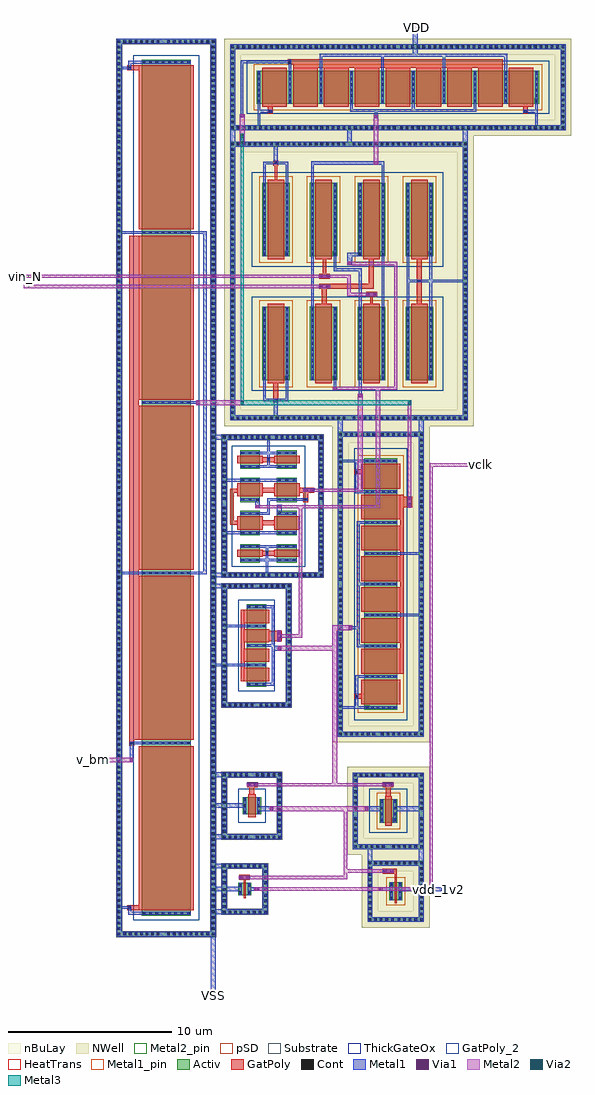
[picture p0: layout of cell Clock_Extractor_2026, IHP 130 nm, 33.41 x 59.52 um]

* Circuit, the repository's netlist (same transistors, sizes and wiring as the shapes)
* Extracted by KLayout with SG13G2 LVS runset on : 10/03/2026 01:40

.SUBCKT Clock_Extractor_2026
M$1 \$2 \$8 \$5 \$1 sg13_lv_nmos L=0.13u W=0.74u AS=0.2516p AD=0.2516p PS=2.16u
+ PD=2.16u
M$2 \$2 \$2 \$17 \$1 sg13_hv_nmos L=10u W=3u AS=1.02p AD=0.57p PS=6.68u PD=3.38u
M$3 \$17 \$17 \$2 \$1 sg13_hv_nmos L=10u W=3u AS=0.57p AD=0.57p PS=3.38u
+ PD=3.38u
M$4 \$2 \$17 \$36 \$1 sg13_hv_nmos L=10u W=6u AS=1.14p AD=1.14p PS=6.76u
+ PD=6.76u
M$6 \$2 \$2 \$2 \$1 sg13_hv_nmos L=10u W=3u AS=0.57p AD=1.02p PS=3.38u PD=6.68u
M$7 \$2 \$15 \$8 \$1 sg13_hv_nmos L=0.45u W=1.05u AS=0.357p AD=0.357p PS=2.78u
+ PD=2.78u
M$8 \$15 \$20 \$2 \$1 sg13_hv_nmos L=0.8u W=4.8u AS=1.092p AD=1.092p PS=7.82u
+ PD=7.82u
M$12 \$2 \$2 \$2 \$1 sg13_hv_nmos L=0.45u W=4.8u AS=1.632p AD=1.632p PS=12.32u
+ PD=12.32u
M$14 \$2 \$26 \$26 \$1 sg13_hv_nmos L=0.8u W=2.4u AS=0.816p AD=0.816p PS=6.16u
+ PD=6.16u
M$15 \$2 \$26 \$20 \$1 sg13_hv_nmos L=0.8u W=2.4u AS=0.816p AD=0.816p PS=6.16u
+ PD=6.16u
M$20 \$5 \$8 \$4 \$3 sg13_lv_pmos L=0.13u W=1.12u AS=0.3808p AD=0.3808p
+ PS=2.92u PD=2.92u
M$21 \$8 \$15 \$4 \$3 sg13_hv_pmos L=0.4u W=1.43u AS=0.4862p AD=0.4862p
+ PS=3.54u PD=3.54u
M$22 \$19 \$19 \$19 \$18 sg13_hv_pmos L=1.5u W=6u AS=1.44p AD=1.74p PS=9.44u
+ PD=11.74u
M$23 \$19 \$36 \$15 \$18 sg13_hv_pmos L=1.5u W=12u AS=2.28p AD=2.28p PS=14.28u
+ PD=14.28u
M$30 \$19 \$19 \$19 \$18 sg13_hv_pmos L=1u W=18u AS=6.12p AD=6.12p PS=38.72u
+ PD=38.72u
M$31 \$38 \$43 \$20 \$18 sg13_hv_pmos L=1u W=9u AS=3.06p AD=3.06p PS=19.36u
+ PD=19.36u
M$32 \$26 \$44 \$38 \$18 sg13_hv_pmos L=1u W=9u AS=3.06p AD=3.06p PS=19.36u
+ PD=19.36u
M$38 \$19 \$19 \$36 \$18 sg13_hv_pmos L=1.5u W=2u AS=0.68p AD=0.38p PS=4.68u
+ PD=2.38u
M$39 \$36 \$36 \$19 \$18 sg13_hv_pmos L=1.5u W=2u AS=0.38p AD=0.38p PS=2.38u
+ PD=2.38u
M$40 \$19 \$36 \$38 \$18 sg13_hv_pmos L=1.5u W=12u AS=2.28p AD=2.28p PS=14.28u
+ PD=14.28u
R$47 \$3 \$4 ntap1 A=8.976p P=59.84u
R$49 \$18 \$19 ntap1 A=47.532p P=316.88u
R$52 \$1 \$2 ptap1 A=58.89p P=392.6u
.ENDS Clock_Extractor_2026

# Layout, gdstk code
from math import pi, radians
import gdstk
lib = gdstk.Library(unit=1e-6, precision=5e-09)
def R(c, l, rs):  # rectangles x0, y0, x1, y1
    for r in rs: c.add(gdstk.rectangle(r[:2], r[2:], *l))
def A(c, l, x, y, w, h, nx, ny, dx, dy):  # array of equal rectangles
    R(c, l, [(x+i*dx, y+j*dy, x+i*dx+w, y+j*dy+h) for i in range(nx) for j in range(ny)])
def P(c, l, *ps):  # polygons
    for p in ps: c.add(gdstk.Polygon(p, *l))
Activ = (1, 0)
GatPoly = (5, 0)
GatPoly_2 = (5, 2)
Cont = (6, 0)
Metal1 = (8, 0)
Metal1_pin = (8, 2)
Metal2 = (10, 0)
Metal2_pin = (10, 2)
pSD = (14, 0)
Via1 = (19, 0)
Via2 = (29, 0)
Metal3 = (30, 0)
NWell = (31, 0)
nBuLay = (32, 0)
Substrate = (40, 0)
ThickGateOx = (44, 0)
HeatTrans = (51, 0)

via_stack_5 = lib.new_cell('via_stack$5')
R(via_stack_5, GatPoly, [(-0.15,-0.15,0.15,0.15)])
R(via_stack_5, Cont, [(-0.08,-0.08,0.08,0.08)])
R(via_stack_5, Metal1, [(-0.13,-0.08,0.13,0.08)])

nmoshv = lib.new_cell('nmosHV')
A(nmoshv, Activ, 0, 0, 0.3, 0.3, 6, 1, 10.38, 0)
R(nmoshv, Activ, [(-1.27,-1.22,-0.97,4.22), (53.17,-1.22,53.47,4.22), (0,0,52.2,3), (-1.27,4.22,53.47,4.52)])
P(nmoshv, Activ, [(-1.27,-1.52),(-1.27,4.22),(-0.97,4.22),(-0.97,-1.22),(53.17,-1.22),(53.17,4.22),(-1.27,4.22),(-1.27,4.52),(53.47,4.52),(53.47,-1.52)])
A(nmoshv, GatPoly, 0.34, -0.18, 10, 3.36, 5, 1, 10.38, 0)
R(nmoshv, GatPoly_2, [(0.34,-0.18,10.34,3.18)])
A(nmoshv, Cont, -1.2, -1.45, 0.16, 0.16, 80, 2, 0.34, 5.74)
A(nmoshv, Cont, 26.04, -1.45, 0.16, 0.16, 81, 2, 0.34, 5.74)
A(nmoshv, Cont, -1.2, -1.11, 0.16, 0.16, 1, 7, 0, 0.34)
A(nmoshv, Cont, 53.24, -1.11, 0.16, 0.16, 1, 7, 0, 0.34)
A(nmoshv, Cont, 0.07, 0.07, 0.16, 0.16, 6, 7, 10.38, 0.385)
A(nmoshv, Cont, -1.2, 1.57, 0.16, 0.16, 1, 8, 0, 0.34)
A(nmoshv, Cont, 53.24, 1.57, 0.16, 0.16, 1, 8, 0, 0.34)
A(nmoshv, Cont, 0.07, 2.77, 0.16, 0.16, 6, 1, 10.38, 0)
A(nmoshv, Metal1, 0.07, 0, 0.16, 3, 6, 1, 10.38, 0)
R(nmoshv, Metal1, [(-1.27,-1.52,53.47,-1.22), (-1.27,-1.22,-0.97,4.22), (53.17,-1.22,53.47,4.22), (-1.27,4.22,53.47,4.52)])
R(nmoshv, Metal1_pin, [(0.07,0,0.23,3), (10.45,0,10.61,3)])
R(nmoshv, pSD, [(-1.3,-1.19,-0.94,4.19), (53.14,-1.19,53.5,4.19), (-1.3,4.19,53.5,4.55)])
P(nmoshv, pSD, [(-1.3,-1.55),(-1.3,4.19),(-0.94,4.19),(-0.94,-1.19),(53.14,-1.19),(53.14,4.19),(-1.3,4.19),(-1.3,4.55),(53.5,4.55),(53.5,-1.55)])
R(nmoshv, Substrate, [(-1.3,-1.19,-0.94,4.19), (53.14,-1.19,53.5,4.19), (-1.3,4.19,53.5,4.55)])
P(nmoshv, Substrate, [(-1.3,-1.55),(-1.3,4.19),(-0.94,4.19),(-0.94,-1.19),(53.14,-1.19),(53.14,4.19),(-1.3,4.19),(-1.3,4.55),(53.5,4.55),(53.5,-1.55)])
R(nmoshv, ThickGateOx, [(-0.27,-0.52,52.47,3.52)])
A(nmoshv, HeatTrans, 0.34, -0.18, 10, 3.36, 5, 1, 10.38, 0)
nmoshv.add(gdstk.Label('nmosHV', (5.34,1.5), layer=63, texttype=0))
nmoshv.add(gdstk.Label('sub!', (26.1,-1.37), layer=63, texttype=0))
nmoshv.add(gdstk.Label('nmosHV', (5.34,1.5), layer=51, texttype=0))
nmoshv.add(gdstk.Label('nmosHV', (15.72,1.5), layer=51, texttype=0))
nmoshv.add(gdstk.Label('nmosHV', (26.1,1.5), layer=51, texttype=0))
nmoshv.add(gdstk.Label('nmosHV', (36.48,1.5), layer=51, texttype=0))
nmoshv.add(gdstk.Label('nmosHV', (46.86,1.5), layer=51, texttype=0))

via_stack = lib.new_cell('via_stack')
R(via_stack, Metal1, [(-0.145,-0.105,0.145,0.105)])
R(via_stack, Metal2, [(-0.145,-0.1,0.145,0.1)])
R(via_stack, Via1, [(-0.095,-0.095,0.095,0.095)])

current_mirror2 = lib.new_cell('current_mirror2')
R(current_mirror2, GatPoly, [(-11.475,-0.645,-11.175,0.23), (39.745,-0.645,40.045,0.23), (-1.435,-0.525,-0.64,-0.225), (-1.095,-0.525,29.665,0.05)])
R(current_mirror2, Metal1, [(-11.405,-1.29,-11.245,-0.415), (9.015,-1.29,9.175,0.46), (29.775,-1.29,29.935,0.46), (39.815,-1.29,39.975,-0.415), (-11.745,-0.575,-11.195,-0.415), (-11.745,-0.575,-11.585,0.46), (39.765,-0.575,40.315,-0.415), (40.155,-0.575,40.315,0.46), (-1.365,-0.505,-1.205,0.46), (-2.47,-0.5,-1.205,-0.29), (9.015,3,9.175,4.205), (19.395,3,19.555,3.77), (29.775,3,29.935,4.205), (9.015,4,29.935,4.205), (-16.925,4.45,-11.835,4.75)])
R(current_mirror2, Metal2, [(-2.47,-2.85,-2.18,-0.295), (19.325,3.565,19.615,6.465)])
current_mirror2.add(gdstk.Reference(via_stack_5, (39.895,-0.495)))
current_mirror2.add(gdstk.Reference(nmoshv, (-11.815,0.23)))
current_mirror2.add(gdstk.Reference(via_stack_5, (-11.325,-0.495), rotation=pi, x_reflection=True))
current_mirror2.add(gdstk.Reference(via_stack_5, (-1.285,-0.375), rotation=3*pi/2))
current_mirror2.add(gdstk.Reference(via_stack, (19.47,3.665), rotation=pi))
current_mirror2.add(gdstk.Reference(via_stack, (-2.325,-0.395)))
current_mirror2.add(gdstk.Label('drain_M31', (19.47,6.395), layer=10, texttype=0))

nmoshv_4 = lib.new_cell('nmosHV$4')
R(nmoshv_4, Activ, [(0,0,0.3,0.3), (0,0,1.48,1.2), (1.18,0,1.48,0.3)])
R(nmoshv_4, GatPoly, [(0.34,-0.18,1.14,1.38)])
R(nmoshv_4, GatPoly_2, [(0.34,-0.18,1.14,1.38)])
A(nmoshv_4, Cont, 0.07, 0.07, 0.16, 0.16, 1, 3, 0, 0.45)
A(nmoshv_4, Cont, 1.25, 0.07, 0.16, 0.16, 1, 3, 0, 0.45)
R(nmoshv_4, Metal1, [(0.07,0,0.23,1.2), (1.25,0,1.41,1.2)])
R(nmoshv_4, Metal1_pin, [(0.07,0,0.23,1.2), (1.25,0,1.41,1.2)])
R(nmoshv_4, ThickGateOx, [(-0.27,-0.52,1.75,1.72)])
R(nmoshv_4, HeatTrans, [(0.34,-0.18,1.14,1.38)])
nmoshv_4.add(gdstk.Label('nmosHV', (0.74,0.6), layer=63, texttype=0))
nmoshv_4.add(gdstk.Label('nmosHV', (0.74,0.6), layer=51, texttype=0))

nmoshv_6 = lib.new_cell('nmosHV$6')
R(nmoshv_6, Activ, [(0,0,0.3,0.3), (0,0,1.13,1.2), (0.83,0,1.13,0.3)])
R(nmoshv_6, GatPoly, [(0.34,-0.18,0.79,1.38)])
R(nmoshv_6, GatPoly_2, [(0.34,-0.18,0.79,1.38)])
A(nmoshv_6, Cont, 0.07, 0.07, 0.16, 0.16, 1, 3, 0, 0.45)
A(nmoshv_6, Cont, 0.9, 0.07, 0.16, 0.16, 1, 3, 0, 0.45)
R(nmoshv_6, Metal1, [(0.07,0,0.23,1.2), (0.9,0,1.06,1.2)])
R(nmoshv_6, Metal1_pin, [(0.07,0,0.23,1.2), (0.9,0,1.06,1.2)])
R(nmoshv_6, ThickGateOx, [(-0.27,-0.52,1.4,1.72)])
R(nmoshv_6, HeatTrans, [(0.34,-0.18,0.79,1.38)])
nmoshv_6.add(gdstk.Label('nmosHV', (0.565,0.6), layer=63, texttype=0))
nmoshv_6.add(gdstk.Label('nmosHV', (0.565,0.6), layer=51, texttype=0))

via_stack_3 = lib.new_cell('via_stack$3')
R(via_stack_3, GatPoly, [(-0.32,-0.15,0.32,0.15)])
R(via_stack_3, Cont, [(-0.25,-0.08,-0.09,0.08), (0.09,-0.08,0.25,0.08)])
R(via_stack_3, Metal1, [(-0.35,-0.105,0.35,0.105)])
R(via_stack_3, Metal2, [(-0.35,-0.1,0.35,0.1)])
R(via_stack_3, Via1, [(-0.3,-0.095,-0.11,0.095), (0.11,-0.095,0.3,0.095)])

guard_ring_6 = lib.new_cell('guard_ring$6')
R(guard_ring_6, Activ, [(-4.35,-2.8,-4.05,2.8), (4.05,-2.8,4.35,2.8), (-4.35,2.8,4.35,3.1)])
P(guard_ring_6, Activ, [(-4.35,-3.1),(-4.35,2.8),(-4.05,2.8),(-4.05,-2.8),(4.05,-2.8),(4.05,2.8),(-4.35,2.8),(-4.35,3.1),(4.35,3.1),(4.35,-3.1)])
A(guard_ring_6, Cont, -4.28, -3.03, 0.16, 0.16, 12, 2, 0.34, 5.9)
A(guard_ring_6, Cont, 0.04, -3.03, 0.16, 0.16, 13, 2, 0.34, 5.9)
A(guard_ring_6, Cont, -4.28, -2.69, 0.16, 0.16, 1, 8, 0, 0.34)
A(guard_ring_6, Cont, 4.12, -2.69, 0.16, 0.16, 1, 8, 0, 0.34)
A(guard_ring_6, Cont, -4.28, 0.15, 0.16, 0.16, 1, 8, 0, 0.34)
A(guard_ring_6, Cont, 4.12, 0.15, 0.16, 0.16, 1, 8, 0, 0.34)
R(guard_ring_6, Metal1, [(-4.35,-3.1,4.35,-2.8), (-4.35,-2.8,-4.05,2.8), (4.05,-2.8,4.35,2.8), (-4.35,2.8,4.35,3.1)])
R(guard_ring_6, pSD, [(-4.38,-2.77,-4.02,2.77), (4.02,-2.77,4.38,2.77), (-4.38,2.77,4.38,3.13)])
P(guard_ring_6, pSD, [(-4.38,-3.13),(-4.38,2.77),(-4.02,2.77),(-4.02,-2.77),(4.02,-2.77),(4.02,2.77),(-4.38,2.77),(-4.38,3.13),(4.38,3.13),(4.38,-3.13)])
R(guard_ring_6, Substrate, [(-4.38,-2.77,-4.02,2.77), (4.02,-2.77,4.38,2.77), (-4.38,2.77,4.38,3.13)])
P(guard_ring_6, Substrate, [(-4.38,-3.13),(-4.38,2.77),(-4.02,2.77),(-4.02,-2.77),(4.02,-2.77),(4.02,2.77),(-4.38,2.77),(-4.38,3.13),(4.38,3.13),(4.38,-3.13)])
guard_ring_6.add(gdstk.Label('sub!', (0,-2.95), layer=63, texttype=0))

current_mirror_loadn = lib.new_cell('current_mirror_loadN')
R(current_mirror_loadn, GatPoly, [(-0.515,-1.78,-0.26,-1.165), (-0.515,-1.78,1.705,-1.565), (1.465,-1.78,1.705,-1.165), (-2.43,0.035,-2.13,1.075), (-0.565,0.035,-0.265,1.075), (1.42,0.035,1.72,1.075), (3.285,0.035,3.585,1.075), (-0.565,2.275,-0.265,3.35)])
P(current_mirror_loadn, GatPoly, [(-0.565,2.68),(-0.565,2.98),(0.31,2.98),(0.31,2.68),(0.27,2.68)])
R(current_mirror_loadn, Metal1, [(-1.1,-2.29,-0.94,-0.935), (2.1,-2.29,2.26,-0.935), (0.08,-0.255,0.7,0.035), (-1.94,-0.205,-1.78,1.305), (-2.77,-0.195,-2.61,1.305), (-1.1,-0.195,-0.94,1.305), (0.92,-0.195,1.08,0.64), (2.1,-0.195,2.26,1.305), (2.94,-0.195,3.1,1.305), (3.77,-0.195,3.93,1.305), (2.94,0.385,3.585,0.545), (3.305,0.385,4.91,0.545), (0.08,0.475,1.08,0.64), (0.08,0.475,0.24,1.305), (-3.79,0.485,-1.78,0.645), (0.49,1.075,1.08,1.365), (0.08,2.045,0.24,2.7)])
R(current_mirror_loadn, Metal2, [(0.495,-0.255,0.695,1.285), (0.495,0.995,0.695,7.385), (-0.515,2.68,-0.315,6.3)])
current_mirror_loadn.add(gdstk.Reference(nmoshv_4, (0.85,1.075)))
current_mirror_loadn.add(gdstk.Reference(nmoshv_4, (-1.17,1.075)))
current_mirror_loadn.add(gdstk.Reference(nmoshv_6, (2.87,1.075)))
current_mirror_loadn.add(gdstk.Reference(nmoshv_6, (2.87,-1.165)))
current_mirror_loadn.add(gdstk.Reference(nmoshv_6, (-2.84,1.075)))
current_mirror_loadn.add(gdstk.Reference(nmoshv_6, (-2.84,-1.165)))
current_mirror_loadn.add(gdstk.Reference(nmoshv_4, (-1.17,-1.165)))
current_mirror_loadn.add(gdstk.Reference(via_stack, (0.595,-0.11), rotation=3*pi/2))
current_mirror_loadn.add(gdstk.Reference(nmoshv_4, (0.85,-1.165)))
current_mirror_loadn.add(gdstk.Reference(via_stack_5, (3.435,0.465)))
current_mirror_loadn.add(gdstk.Reference(via_stack_5, (-2.28,0.565)))
current_mirror_loadn.add(gdstk.Reference(via_stack, (0.595,1.22), rotation=3*pi/2))
current_mirror_loadn.add(gdstk.Reference(via_stack_5, (0.16,2.83), rotation=3*pi/2))
current_mirror_loadn.add(gdstk.Reference(via_stack_3, (-0.415,3.03), rotation=3*pi/2))
current_mirror_loadn.add(gdstk.Reference(guard_ring_6, (0.56,0.81)))
current_mirror_loadn.add(gdstk.Label('VSS', (4.71,-2.15), layer=8, texttype=0))
current_mirror_loadn.add(gdstk.Label('drain_M10', (0.6,7.325), layer=10, texttype=0))
current_mirror_loadn.add(gdstk.Label('drain_M11', (-0.405,6.265), layer=10, texttype=0))

via_stack_1 = lib.new_cell('via_stack$1')
R(via_stack_1, GatPoly, [(-0.15,-0.32,0.15,0.32)])
R(via_stack_1, Cont, [(-0.08,-0.25,0.08,-0.09), (-0.08,0.09,0.08,0.25)])
R(via_stack_1, Metal1, [(-0.105,-0.35,0.105,0.35)])
R(via_stack_1, Metal2, [(-0.1,-0.35,0.1,0.35)])
R(via_stack_1, Via1, [(-0.095,-0.3,0.095,-0.11), (-0.095,0.11,0.095,0.3)])

pmoshv_5 = lib.new_cell('pmosHV$5')
A(pmoshv_5, Activ, 0, 0, 0.3, 0.3, 9, 1, 1.88, 0)
R(pmoshv_5, Activ, [(-1.62,-1.32,-1.32,3.32), (16.66,-1.32,16.96,3.32), (0,0,15.34,2), (-1.62,3.32,16.96,3.62)])
P(pmoshv_5, Activ, [(-1.62,-1.62),(-1.62,3.32),(-1.32,3.32),(-1.32,-1.32),(16.66,-1.32),(16.66,3.32),(-1.62,3.32),(-1.62,3.62),(16.96,3.62),(16.96,-1.62)])
A(pmoshv_5, GatPoly, 0.34, -0.18, 1.5, 2.36, 8, 1, 1.88, 0)
R(pmoshv_5, GatPoly_2, [(0.34,-0.18,1.84,2.18)])
A(pmoshv_5, Cont, -1.55, -1.55, 0.16, 0.16, 27, 2, 0.34, 4.94)
A(pmoshv_5, Cont, 7.89, -1.55, 0.16, 0.16, 27, 2, 0.34, 4.94)
A(pmoshv_5, Cont, -1.55, -1.21, 0.16, 0.16, 1, 6, 0, 0.34)
A(pmoshv_5, Cont, 16.73, -1.21, 0.16, 0.16, 1, 6, 0, 0.34)
A(pmoshv_5, Cont, 0.07, 0.07, 0.16, 0.16, 9, 6, 1.88, 0.34)
A(pmoshv_5, Cont, -1.55, 1.01, 0.16, 0.16, 1, 7, 0, 0.34)
A(pmoshv_5, Cont, 16.73, 1.01, 0.16, 0.16, 1, 7, 0, 0.34)
A(pmoshv_5, Metal1, 0.07, 0, 0.16, 2, 9, 1, 1.88, 0)
R(pmoshv_5, Metal1, [(-1.62,-1.62,16.96,-1.32), (-1.62,-1.32,-1.32,3.32), (16.66,-1.32,16.96,3.32), (-1.62,3.32,16.96,3.62)])
R(pmoshv_5, Metal1_pin, [(0.07,0,0.23,2), (1.95,0,2.11,2)])
R(pmoshv_5, pSD, [(-0.18,-0.4,15.52,2.4)])
R(pmoshv_5, NWell, [(-1.97,-1.97,17.31,3.97), (-0.62,-0.62,15.96,2.62)])
R(pmoshv_5, nBuLay, [(-1.97,-0.97,-0.97,2.97), (16.31,-0.97,17.31,2.97), (-1.97,2.97,17.31,3.97)])
P(pmoshv_5, nBuLay, [(-1.97,-1.97),(-1.97,2.97),(-0.97,2.97),(-0.97,-0.97),(16.31,-0.97),(16.31,2.97),(-1.97,2.97),(-1.97,3.97),(17.31,3.97),(17.31,-1.97)])
R(pmoshv_5, Substrate, [(15.04,0,15.34,0.3)])
R(pmoshv_5, ThickGateOx, [(-0.62,-0.62,15.96,2.62)])
A(pmoshv_5, HeatTrans, 0.34, -0.18, 1.5, 2.36, 8, 1, 1.88, 0)
pmoshv_5.add(gdstk.Label('pmosHV', (1.09,1), layer=63, texttype=0))
pmoshv_5.add(gdstk.Label('well', (7.67,-1.47), layer=63, texttype=0))
pmoshv_5.add(gdstk.Label('pmos', (1.09,1), layer=51, texttype=0))
pmoshv_5.add(gdstk.Label('pmos', (2.97,1), layer=51, texttype=0))
pmoshv_5.add(gdstk.Label('pmos', (4.85,1), layer=51, texttype=0))
pmoshv_5.add(gdstk.Label('pmos', (6.73,1), layer=51, texttype=0))
pmoshv_5.add(gdstk.Label('pmos', (8.61,1), layer=51, texttype=0))
pmoshv_5.add(gdstk.Label('pmos', (10.49,1), layer=51, texttype=0))
pmoshv_5.add(gdstk.Label('pmos', (12.37,1), layer=51, texttype=0))
pmoshv_5.add(gdstk.Label('pmos', (14.25,1), layer=51, texttype=0))

nmoshv_8 = lib.new_cell('nmosHV$8')
A(nmoshv_8, Activ, 0, 0, 0.3, 0.3, 5, 1, 1.18, 0)
R(nmoshv_8, Activ, [(-1.27,-1.22,-0.97,2.42), (5.99,-1.22,6.29,2.42), (0,0,5.02,1.2), (-1.27,2.42,6.29,2.72)])
P(nmoshv_8, Activ, [(-1.27,-1.52),(-1.27,2.42),(-0.97,2.42),(-0.97,-1.22),(5.99,-1.22),(5.99,2.42),(-1.27,2.42),(-1.27,2.72),(6.29,2.72),(6.29,-1.52)])
A(nmoshv_8, GatPoly, 0.34, -0.18, 0.8, 1.56, 4, 1, 1.18, 0)
R(nmoshv_8, GatPoly_2, [(0.34,-0.18,1.14,1.38)])
A(nmoshv_8, Cont, -1.2, -1.45, 0.16, 0.16, 11, 2, 0.34, 3.94)
A(nmoshv_8, Cont, 2.66, -1.45, 0.16, 0.16, 11, 2, 0.34, 3.94)
A(nmoshv_8, Cont, -1.2, -1.11, 0.16, 0.16, 1, 5, 0, 0.34)
A(nmoshv_8, Cont, 6.06, -1.11, 0.16, 0.16, 1, 5, 0, 0.34)
A(nmoshv_8, Cont, 0.07, 0.07, 0.16, 0.16, 5, 3, 1.18, 0.45)
A(nmoshv_8, Cont, -1.2, 0.79, 0.16, 0.16, 1, 5, 0, 0.34)
A(nmoshv_8, Cont, 6.06, 0.79, 0.16, 0.16, 1, 5, 0, 0.34)
A(nmoshv_8, Metal1, 0.07, 0, 0.16, 1.2, 5, 1, 1.18, 0)
R(nmoshv_8, Metal1, [(-1.27,-1.52,6.29,-1.22), (-1.27,-1.22,-0.97,2.42), (5.99,-1.22,6.29,2.42), (-1.27,2.42,6.29,2.72)])
R(nmoshv_8, Metal1_pin, [(0.07,0,0.23,1.2), (1.25,0,1.41,1.2)])
R(nmoshv_8, pSD, [(-1.3,-1.19,-0.94,2.39), (5.96,-1.19,6.32,2.39), (-1.3,2.39,6.32,2.75)])
P(nmoshv_8, pSD, [(-1.3,-1.55),(-1.3,2.39),(-0.94,2.39),(-0.94,-1.19),(5.96,-1.19),(5.96,2.39),(-1.3,2.39),(-1.3,2.75),(6.32,2.75),(6.32,-1.55)])
R(nmoshv_8, Substrate, [(-1.3,-1.19,-0.94,2.39), (5.96,-1.19,6.32,2.39), (-1.3,2.39,6.32,2.75)])
P(nmoshv_8, Substrate, [(-1.3,-1.55),(-1.3,2.39),(-0.94,2.39),(-0.94,-1.19),(5.96,-1.19),(5.96,2.39),(-1.3,2.39),(-1.3,2.75),(6.32,2.75),(6.32,-1.55)])
R(nmoshv_8, ThickGateOx, [(-0.27,-0.52,5.29,1.72)])
A(nmoshv_8, HeatTrans, 0.34, -0.18, 0.8, 1.56, 4, 1, 1.18, 0)
nmoshv_8.add(gdstk.Label('nmosHV', (0.74,0.6), layer=63, texttype=0))
nmoshv_8.add(gdstk.Label('sub!', (2.51,-1.37), layer=63, texttype=0))
nmoshv_8.add(gdstk.Label('nmosHV', (0.74,0.6), layer=51, texttype=0))
nmoshv_8.add(gdstk.Label('nmosHV', (1.92,0.6), layer=51, texttype=0))
nmoshv_8.add(gdstk.Label('nmosHV', (3.1,0.6), layer=51, texttype=0))
nmoshv_8.add(gdstk.Label('nmosHV', (4.28,0.6), layer=51, texttype=0))

c_2stage_ota = lib.new_cell('2stage_ota')
R(c_2stage_ota, GatPoly, [(8.74,-7.295,13.08,-7.055), (10.005,-5.745,10.645,-4.82), (0.175,-0.385,0.475,0.235), (0.175,-0.385,0.475,0.715), (13.865,-0.385,14.165,0.235), (13.865,-0.385,14.165,0.635), (1.825,2.05,2.465,3.14), (1.72,2.415,12.62,2.635)])
A(c_2stage_ota, Metal1, 8.47, -5.975, 0.16, 0.705, 3, 1, 2.36, 0)
A(c_2stage_ota, Metal1, 3.33, -0.225, 0.16, 0.69, 3, 1, 3.76, 0)
R(c_2stage_ota, Metal1, [(12.01,-9.135,12.17,-8.165), (9.65,-8.465,9.81,-6.715), (12.01,-8.465,12.17,-6.715), (8.47,-6.375,8.63,-5.595), (8.47,-5.43,13.35,-5.27), (10.925,-5.43,11.215,-4.835), (-0.43,-1.385,-0.27,-0.155), (14.61,-1.385,14.77,-0.155), (9.685,-0.72,9.975,-0.51), (9.735,-0.72,9.925,-0.065), (-0.43,-0.315,-0.27,0.465), (-0.43,-0.315,-0.27,0.465), (-0.43,-0.315,0.455,-0.155), (-0.43,-0.315,0.455,-0.155), (0.195,-0.315,1.61,-0.155), (1.45,-0.315,1.61,0.465), (12.73,-0.315,12.89,0.465), (12.73,-0.315,14.145,-0.155), (13.885,-0.315,14.77,-0.155), (13.885,-0.315,14.77,-0.155), (14.61,-0.315,14.77,0.465), (14.61,-0.315,14.77,0.465), (3.33,-0.225,11.01,-0.065), (10.85,-0.225,11.01,0.465), (5.21,2.005,5.37,3.855), (8.97,2.005,9.13,3.855)])
R(c_2stage_ota, Metal2, [(9.975,-5.07,10.675,-4.87), (10.235,-5.07,10.435,-3.56), (10.925,-5.04,11.215,-1.435), (9.685,-1.735,9.975,-0.515), (9.685,-1.735,19.5,-1.435), (9.685,-0.715,9.975,-0.515), (-4.04,2.89,2.495,3.09)])
c_2stage_ota.add(gdstk.Reference(via_stack_1, (10.325,-4.97), rotation=pi/2, x_reflection=True))
c_2stage_ota.add(gdstk.Reference(via_stack, (11.07,-4.94), x_reflection=True))
c_2stage_ota.add(gdstk.Reference(via_stack, (9.83,-0.615), rotation=pi))
c_2stage_ota.add(gdstk.Reference(via_stack_1, (2.145,2.99), rotation=3*pi/2))
c_2stage_ota.add(gdstk.Reference(via_stack_5, (0.325,-0.235), rotation=pi, x_reflection=True))
c_2stage_ota.add(gdstk.Reference(pmoshv_5, (-0.5,0.235)))
c_2stage_ota.add(gdstk.Reference(nmoshv_8, (8.4,-6.945)))
c_2stage_ota.add(gdstk.Reference(via_stack_5, (14.015,-0.235)))
c_2stage_ota.add(gdstk.Label('VDD', (5.295,3.825), layer=8, texttype=0))
c_2stage_ota.add(gdstk.Label('VSS', (12.085,-9.015), layer=8, texttype=0))
c_2stage_ota.add(gdstk.Label('gate_M2', (-3.985,2.985), layer=10, texttype=0))
c_2stage_ota.add(gdstk.Label('gate_M12', (10.335,-3.625), layer=10, texttype=0))
c_2stage_ota.add(gdstk.Label('drain_M2_M12_outputOTA', (9.805,-1.61), layer=10, texttype=0))

pmoshv = lib.new_cell('pmosHV')
A(pmoshv, Activ, 0, 0, 0.3, 0.3, 10, 1, 1.88, 0)
R(pmoshv, Activ, [(-1.62,-1.32,-1.32,3.32), (18.54,-1.32,18.84,3.32), (0,0,17.22,2), (-1.62,3.32,18.84,3.62)])
P(pmoshv, Activ, [(-1.62,-1.62),(-1.62,3.32),(-1.32,3.32),(-1.32,-1.32),(18.54,-1.32),(18.54,3.32),(-1.62,3.32),(-1.62,3.62),(18.84,3.62),(18.84,-1.62)])
A(pmoshv, GatPoly, 0.34, -0.18, 1.5, 2.36, 9, 1, 1.88, 0)
R(pmoshv, GatPoly_2, [(0.34,-0.18,1.84,2.18)])
A(pmoshv, Cont, -1.55, -1.55, 0.16, 0.16, 30, 2, 0.34, 4.94)
A(pmoshv, Cont, 8.75, -1.55, 0.16, 0.16, 30, 2, 0.34, 4.94)
A(pmoshv, Cont, -1.55, -1.21, 0.16, 0.16, 1, 6, 0, 0.34)
A(pmoshv, Cont, 18.61, -1.21, 0.16, 0.16, 1, 6, 0, 0.34)
A(pmoshv, Cont, 0.07, 0.07, 0.16, 0.16, 10, 6, 1.88, 0.34)
A(pmoshv, Cont, -1.55, 1.01, 0.16, 0.16, 1, 7, 0, 0.34)
A(pmoshv, Cont, 18.61, 1.01, 0.16, 0.16, 1, 7, 0, 0.34)
A(pmoshv, Metal1, 0.07, 0, 0.16, 2, 10, 1, 1.88, 0)
R(pmoshv, Metal1, [(-1.62,-1.62,18.84,-1.32), (-1.62,-1.32,-1.32,3.32), (18.54,-1.32,18.84,3.32), (-1.62,3.32,18.84,3.62)])
R(pmoshv, Metal1_pin, [(0.07,0,0.23,2), (1.95,0,2.11,2)])
R(pmoshv, pSD, [(-0.18,-0.4,17.4,2.4)])
R(pmoshv, NWell, [(-1.97,-1.97,19.19,3.97), (-0.62,-0.62,17.84,2.62)])
R(pmoshv, nBuLay, [(-1.97,-0.97,-0.97,2.97), (18.19,-0.97,19.19,2.97), (-1.97,2.97,19.19,3.97)])
P(pmoshv, nBuLay, [(-1.97,-1.97),(-1.97,2.97),(-0.97,2.97),(-0.97,-0.97),(18.19,-0.97),(18.19,2.97),(-1.97,2.97),(-1.97,3.97),(19.19,3.97),(19.19,-1.97)])
R(pmoshv, Substrate, [(16.92,0,17.22,0.3)])
R(pmoshv, ThickGateOx, [(-0.62,-0.62,17.84,2.62)])
A(pmoshv, HeatTrans, 0.34, -0.18, 1.5, 2.36, 9, 1, 1.88, 0)
pmoshv.add(gdstk.Label('pmosHV', (1.09,1), layer=63, texttype=0))
pmoshv.add(gdstk.Label('well', (8.61,-1.47), layer=63, texttype=0))
pmoshv.add(gdstk.Label('pmos', (1.09,1), layer=51, texttype=0))
pmoshv.add(gdstk.Label('pmos', (2.97,1), layer=51, texttype=0))
pmoshv.add(gdstk.Label('pmos', (4.85,1), layer=51, texttype=0))
pmoshv.add(gdstk.Label('pmos', (6.73,1), layer=51, texttype=0))
pmoshv.add(gdstk.Label('pmos', (8.61,1), layer=51, texttype=0))
pmoshv.add(gdstk.Label('pmos', (10.49,1), layer=51, texttype=0))
pmoshv.add(gdstk.Label('pmos', (12.37,1), layer=51, texttype=0))
pmoshv.add(gdstk.Label('pmos', (14.25,1), layer=51, texttype=0))
pmoshv.add(gdstk.Label('pmos', (16.13,1), layer=51, texttype=0))

current_mirror3 = lib.new_cell('current_mirror3')
R(current_mirror3, GatPoly, [(0.275,0.595,0.575,1.215), (0.275,0.595,0.575,1.215), (15.845,0.595,16.145,1.215), (1.82,3.395,14.6,3.915), (1.48,3.615,2.02,3.915)])
A(current_mirror3, Metal1, 5.31, 0.725, 0.16, 0.72, 3, 1, 3.76, 0)
R(current_mirror3, Metal1, [(-0.33,-0.405,-0.17,0.825), (16.59,-0.405,16.75,0.825), (6.73,0.33,7.02,0.54), (6.795,0.33,6.955,0.885), (-1.43,0.37,-1.14,0.58), (-1.37,0.37,-1.21,3.845), (-0.33,0.665,-0.17,1.445), (-0.33,0.665,-0.17,1.445), (-0.33,0.665,0.555,0.825), (-0.33,0.665,0.555,0.825), (15.865,0.665,16.75,0.825), (16.59,0.665,16.75,1.445), (16.59,0.665,16.75,1.445), (5.31,0.725,12.99,0.885), (10.95,2.98,11.11,4.25), (1.55,2.985,1.71,3.895), (3.43,2.985,3.59,4.25), (7.19,2.985,7.35,4.25), (14.71,2.985,14.87,4.25), (-1.37,3.685,1.71,3.845), (3.43,4.08,14.87,4.25), (9.11,4.08,9.41,6.1)])
R(current_mirror3, Metal2, [(-1.43,-1.32,-1.14,0.575), (6.73,-0.97,7.02,0.535)])
current_mirror3.add(gdstk.Reference(pmoshv, (-0.4,1.215)))
current_mirror3.add(gdstk.Reference(via_stack_5, (1.63,3.765), rotation=3*pi/2))
current_mirror3.add(gdstk.Reference(via_stack_5, (0.425,0.745), rotation=pi, x_reflection=True))
current_mirror3.add(gdstk.Reference(via_stack_5, (15.995,0.745)))
current_mirror3.add(gdstk.Reference(via_stack, (6.875,0.435)))
current_mirror3.add(gdstk.Reference(via_stack, (-1.285,0.475)))
current_mirror3.add(gdstk.Label('drain_M1', (6.79,-0.95), layer=10, texttype=0))
current_mirror3.add(gdstk.Label('drain_M4', (-1.345,-0.96), layer=10, texttype=0))

pmoshv_2 = lib.new_cell('pmosHV$2')
R(pmoshv_2, Activ, [(0,0,0.3,0.3), (0,0,1.68,4.5), (1.38,0,1.68,0.3)])
R(pmoshv_2, GatPoly, [(0.34,-0.18,1.34,4.68)])
R(pmoshv_2, GatPoly_2, [(0.34,-0.18,1.34,4.68)])
A(pmoshv_2, Cont, 0.07, 0.07, 0.16, 0.16, 1, 13, 0, 0.35)
A(pmoshv_2, Cont, 1.45, 0.07, 0.16, 0.16, 1, 13, 0, 0.35)
R(pmoshv_2, Metal1, [(0.07,0,0.23,4.5), (1.45,0,1.61,4.5)])
R(pmoshv_2, Metal1_pin, [(0.07,0,0.23,4.5), (1.45,0,1.61,4.5)])
R(pmoshv_2, pSD, [(-0.18,-0.4,1.86,4.9)])
R(pmoshv_2, NWell, [(-0.62,-0.62,2.3,5.12)])
R(pmoshv_2, Substrate, [(1.38,0,1.68,0.3)])
R(pmoshv_2, ThickGateOx, [(-0.62,-0.62,2.3,5.12)])
R(pmoshv_2, HeatTrans, [(0.34,-0.18,1.34,4.68)])
pmoshv_2.add(gdstk.Label('pmosHV', (0.84,2.25), layer=63, texttype=0))
pmoshv_2.add(gdstk.Label('pmos', (0.84,2.25), layer=51, texttype=0))

guard_ring_5 = lib.new_cell('guard_ring$5')
R(guard_ring_5, Activ, [(-7.25,-8.2,-6.95,8.2), (6.95,-8.2,7.25,8.2), (-7.25,8.2,7.25,8.5)])
P(guard_ring_5, Activ, [(-7.25,-8.5),(-7.25,8.2),(-6.95,8.2),(-6.95,-8.2),(6.95,-8.2),(6.95,8.2),(-7.25,8.2),(-7.25,8.5),(7.25,8.5),(7.25,-8.5)])
A(guard_ring_5, Cont, -7.18, -8.43, 0.16, 0.16, 21, 2, 0.34, 16.7)
A(guard_ring_5, Cont, 0.22, -8.43, 0.16, 0.16, 21, 2, 0.34, 16.7)
A(guard_ring_5, Cont, -7.18, -8.09, 0.16, 0.16, 1, 24, 0, 0.34)
A(guard_ring_5, Cont, 7.02, -8.09, 0.16, 0.16, 1, 24, 0, 0.34)
A(guard_ring_5, Cont, -7.18, 0.11, 0.16, 0.16, 1, 24, 0, 0.34)
A(guard_ring_5, Cont, 7.02, 0.11, 0.16, 0.16, 1, 24, 0, 0.34)
R(guard_ring_5, Metal1, [(-7.25,-8.5,7.25,-8.2), (-7.25,-8.2,-6.95,8.2), (6.95,-8.2,7.25,8.2), (-7.25,8.2,7.25,8.5)])
R(guard_ring_5, NWell, [(-7.6,-8.85,7.6,8.85)])
R(guard_ring_5, nBuLay, [(-7.6,-7.85,-6.6,7.85), (6.6,-7.85,7.6,7.85), (-7.6,7.85,7.6,8.85)])
P(guard_ring_5, nBuLay, [(-7.6,-8.85),(-7.6,7.85),(-6.6,7.85),(-6.6,-7.85),(6.6,-7.85),(6.6,7.85),(-7.6,7.85),(-7.6,8.85),(7.6,8.85),(7.6,-8.85)])
guard_ring_5.add(gdstk.Label('well', (0,-8.35), layer=63, texttype=0))

iput_diff = lib.new_cell('iput_diff')
R(iput_diff, GatPoly, [(-1.83,2.375,-1.53,3.76), (1.125,2.375,1.27,3.275), (3.96,2.375,4.26,5.44), (0.87,2.975,1.51,3.275), (-2,3.46,1.345,3.76), (1.025,3.46,1.345,5.44), (-1.995,4.08,-1.355,4.38), (-1.78,4.08,-1.575,5.44), (-4.72,9.94,-4.565,10.98), (-4.79,10.98,-4.49,11.28)])
P(iput_diff, GatPoly, [(-4.79,-3.465),(-4.79,-2.125),(-4.535,-2.125),(-4.49,-2.125),(-4.49,-3.465)])
R(iput_diff, Metal1, [(-4.77,-4.56,-4.51,-3.235), (-5.41,-3.395,-5.25,-1.895), (-5.41,-3.395,-4.77,-3.235), (-4.51,-3.395,-3.87,-3.235), (-4.03,-3.395,-3.87,-1.895), (0.365,-3.08,0.655,-2.935), (0.43,-2.935,0.59,-1.895), (-1.175,-2.71,-0.885,-2.5), (-1.11,-2.71,-0.95,-1.895), (-2.49,2.145,-2.33,5.67), (0.43,2.145,0.59,4.715), (1.81,2.145,1.97,5.67), (3.35,2.145,3.51,4.02), (4.73,2.145,4.89,4.02), (3.35,3.86,3.98,4.02), (3.35,3.86,3.51,5.67), (3.98,3.86,7.075,4.02), (4.73,3.86,4.89,5.67), (-1.11,4.535,-0.95,5.67), (-1.11,4.535,0.59,4.715), (-0.27,4.915,0.02,5.67), (-0.27,5.44,0.59,5.67), (-5.41,9.71,-5.25,11.21), (-4.03,9.71,-3.87,11.21), (-2.49,9.71,-2.33,11.24), (1.81,9.71,1.97,11.24), (-2.49,11.03,1.97,11.24), (-5.41,11.05,-4.51,11.21), (-4.77,11.05,-4.51,11.21), (-4.77,11.05,-3.87,11.21), (-4.77,11.05,-4.51,12.44)])
R(iput_diff, Metal2, [(1.45,-9.925,1.74,-2.505), (0.365,-8.915,0.655,-2.94), (-1.175,-2.705,2.77,-2.505), (2.57,-2.705,2.77,5.115), (-0.295,3.025,1.54,3.225), (-0.295,3.025,-0.06,4.33), (-20.02,3.51,-1.33,3.71), (-20,4.13,-0.06,4.33), (-0.27,4.915,2.77,5.115), (1.325,11.035,1.615,13.11)])
iput_diff.add(gdstk.Reference(pmoshv_2, (-2.56,5.44)))
iput_diff.add(gdstk.Reference(pmoshv_2, (0.36,5.44)))
iput_diff.add(gdstk.Reference(pmoshv_2, (-2.56,-2.125)))
iput_diff.add(gdstk.Reference(pmoshv_2, (0.36,-2.125)))
iput_diff.add(gdstk.Reference(pmoshv_2, (3.28,5.44)))
iput_diff.add(gdstk.Reference(pmoshv_2, (-5.48,-2.125)))
iput_diff.add(gdstk.Reference(pmoshv_2, (-5.48,5.44)))
iput_diff.add(gdstk.Reference(pmoshv_2, (3.28,-2.125)))
iput_diff.add(gdstk.Reference(via_stack, (1.47,11.135)))
iput_diff.add(gdstk.Reference(via_stack_3, (-1.675,4.23)))
iput_diff.add(gdstk.Reference(via_stack_3, (1.19,3.125)))
iput_diff.add(gdstk.Reference(via_stack_3, (-1.68,3.61)))
iput_diff.add(gdstk.Reference(via_stack, (0.51,-3.04), rotation=pi))
iput_diff.add(gdstk.Reference(via_stack, (-0.125,5.015)))
iput_diff.add(gdstk.Reference(guard_ring_5, (-0.175,3.94)))
iput_diff.add(gdstk.Reference(via_stack_5, (-4.64,11.13)))
iput_diff.add(gdstk.Reference(via_stack_5, (4.11,3.94)))
iput_diff.add(gdstk.Reference(via_stack_5, (-4.64,-3.315), rotation=pi))
iput_diff.add(gdstk.Reference(via_stack, (-1.03,-2.605), rotation=pi))
iput_diff.add(gdstk.Label('VDD', (-4.6,12.335), layer=8, texttype=0))
iput_diff.add(gdstk.Label('source_M3_M5', (1.47,12.98), layer=10, texttype=0))
iput_diff.add(gdstk.Label('drain_M5', (0.5,-8.84), layer=10, texttype=0))
iput_diff.add(gdstk.Label('drain_M3', (1.595,-9.835), layer=10, texttype=0))

pmoshv_6 = lib.new_cell('pmosHV$6')
R(pmoshv_6, Activ, [(-1.62,-1.32,-1.32,2.75), (2.4,-1.32,2.7,2.75), (0,0,0.3,0.3), (0,0,1.08,1.43), (0.78,0,1.08,0.3), (-1.62,2.75,2.7,3.05)])
P(pmoshv_6, Activ, [(-1.62,-1.62),(-1.62,2.75),(-1.32,2.75),(-1.32,-1.32),(2.4,-1.32),(2.4,2.75),(-1.62,2.75),(-1.62,3.05),(2.7,3.05),(2.7,-1.62)])
R(pmoshv_6, GatPoly, [(0.34,-0.18,0.74,1.61)])
R(pmoshv_6, GatPoly_2, [(0.34,-0.18,0.74,1.61)])
A(pmoshv_6, Cont, -1.55, -1.55, 0.16, 0.16, 6, 2, 0.34, 4.37)
A(pmoshv_6, Cont, 0.77, -1.55, 0.16, 0.16, 6, 2, 0.34, 4.37)
A(pmoshv_6, Cont, -1.55, -1.21, 0.16, 0.16, 1, 5, 0, 0.34)
A(pmoshv_6, Cont, 2.47, -1.21, 0.16, 0.16, 1, 5, 0, 0.34)
A(pmoshv_6, Cont, 0.07, 0.07, 0.16, 0.16, 1, 3, 0, 0.375)
A(pmoshv_6, Cont, 0.85, 0.07, 0.16, 0.16, 1, 3, 0, 0.375)
A(pmoshv_6, Cont, -1.55, 0.78, 0.16, 0.16, 1, 6, 0, 0.34)
A(pmoshv_6, Cont, 2.47, 0.78, 0.16, 0.16, 1, 6, 0, 0.34)
R(pmoshv_6, Cont, [(0.07,1.2,0.23,1.36), (0.85,1.2,1.01,1.36)])
R(pmoshv_6, Metal1, [(-1.62,-1.62,2.7,-1.32), (-1.62,-1.32,-1.32,2.75), (2.4,-1.32,2.7,2.75), (0.07,0,0.23,1.43), (0.85,0,1.01,1.43), (-1.62,2.75,2.7,3.05)])
R(pmoshv_6, Metal1_pin, [(0.07,0,0.23,1.43), (0.85,0,1.01,1.43)])
R(pmoshv_6, pSD, [(-0.18,-0.4,1.26,1.83)])
R(pmoshv_6, NWell, [(-1.97,-1.97,3.05,3.4), (-0.62,-0.62,1.7,2.05)])
R(pmoshv_6, nBuLay, [(-1.97,-0.97,-0.97,2.4), (2.05,-0.97,3.05,2.4), (-1.97,2.4,3.05,3.4)])
P(pmoshv_6, nBuLay, [(-1.97,-1.97),(-1.97,2.4),(-0.97,2.4),(-0.97,-0.97),(2.05,-0.97),(2.05,2.4),(-1.97,2.4),(-1.97,3.4),(3.05,3.4),(3.05,-1.97)])
R(pmoshv_6, Substrate, [(0.78,0,1.08,0.3)])
R(pmoshv_6, ThickGateOx, [(-0.62,-0.62,1.7,2.05)])
R(pmoshv_6, HeatTrans, [(0.34,-0.18,0.74,1.61)])
pmoshv_6.add(gdstk.Label('pmosHV', (0.54,0.715), layer=63, texttype=0))
pmoshv_6.add(gdstk.Label('well', (0.54,-1.47), layer=63, texttype=0))
pmoshv_6.add(gdstk.Label('pmos', (0.54,0.715), layer=51, texttype=0))

nmoshv_7 = lib.new_cell('nmosHV$7')
R(nmoshv_7, Activ, [(-1.27,-1.22,-0.97,2.27), (2.1,-1.22,2.4,2.27), (0,0,0.3,0.3), (0,0,1.13,1.05), (0.83,0,1.13,0.3), (-1.27,2.27,2.4,2.57)])
P(nmoshv_7, Activ, [(-1.27,-1.52),(-1.27,2.27),(-0.97,2.27),(-0.97,-1.22),(2.1,-1.22),(2.1,2.27),(-1.27,2.27),(-1.27,2.57),(2.4,2.57),(2.4,-1.52)])
R(nmoshv_7, GatPoly, [(0.34,-0.18,0.79,1.23)])
R(nmoshv_7, GatPoly_2, [(0.34,-0.18,0.79,1.23)])
A(nmoshv_7, Cont, -1.2, -1.45, 0.16, 0.16, 5, 2, 0.34, 3.79)
A(nmoshv_7, Cont, 0.81, -1.45, 0.16, 0.16, 5, 2, 0.34, 3.79)
A(nmoshv_7, Cont, -1.2, -1.11, 0.16, 0.16, 1, 5, 0, 0.34)
A(nmoshv_7, Cont, 2.17, -1.11, 0.16, 0.16, 1, 5, 0, 0.34)
A(nmoshv_7, Cont, 0.07, 0.07, 0.16, 0.16, 1, 3, 0, 0.375)
A(nmoshv_7, Cont, 0.9, 0.07, 0.16, 0.16, 1, 3, 0, 0.375)
A(nmoshv_7, Cont, -1.2, 0.64, 0.16, 0.16, 1, 5, 0, 0.34)
A(nmoshv_7, Cont, 2.17, 0.64, 0.16, 0.16, 1, 5, 0, 0.34)
R(nmoshv_7, Metal1, [(-1.27,-1.52,2.4,-1.22), (-1.27,-1.22,-0.97,2.27), (2.1,-1.22,2.4,2.27), (0.07,0,0.23,1.05), (0.9,0,1.06,1.05), (-1.27,2.27,2.4,2.57)])
R(nmoshv_7, Metal1_pin, [(0.07,0,0.23,1.05), (0.9,0,1.06,1.05)])
R(nmoshv_7, pSD, [(-1.3,-1.19,-0.94,2.24), (2.07,-1.19,2.43,2.24), (-1.3,2.24,2.43,2.6)])
P(nmoshv_7, pSD, [(-1.3,-1.55),(-1.3,2.24),(-0.94,2.24),(-0.94,-1.19),(2.07,-1.19),(2.07,2.24),(-1.3,2.24),(-1.3,2.6),(2.43,2.6),(2.43,-1.55)])
R(nmoshv_7, Substrate, [(-1.3,-1.19,-0.94,2.24), (2.07,-1.19,2.43,2.24), (-1.3,2.24,2.43,2.6)])
P(nmoshv_7, Substrate, [(-1.3,-1.55),(-1.3,2.24),(-0.94,2.24),(-0.94,-1.19),(2.07,-1.19),(2.07,2.24),(-1.3,2.24),(-1.3,2.6),(2.43,2.6),(2.43,-1.55)])
R(nmoshv_7, ThickGateOx, [(-0.27,-0.52,1.4,1.57)])
R(nmoshv_7, HeatTrans, [(0.34,-0.18,0.79,1.23)])
nmoshv_7.add(gdstk.Label('nmosHV', (0.565,0.525), layer=63, texttype=0))
nmoshv_7.add(gdstk.Label('sub!', (0.565,-1.37), layer=63, texttype=0))
nmoshv_7.add(gdstk.Label('nmosHV', (0.565,0.525), layer=51, texttype=0))

inverter_hv = lib.new_cell('inverter_hv')
R(inverter_hv, GatPoly, [(7.975,3.075,8.275,3.715), (7.975,3.21,9.31,3.51), (7.975,11.33,8.275,11.97), (7.975,11.535,9.42,11.835)])
R(inverter_hv, Metal1, [(9.27,0.855,9.54,3.025), (9.44,3.695,9.73,4.665), (9.44,10.25,9.73,11.375), (9.43,11.995,9.73,13.845)])
R(inverter_hv, Metal2, [(8.025,3.045,8.225,12), (9.44,4.46,9.73,10.455), (9.44,8.97,10.55,9.175)])
inverter_hv.add(gdstk.Reference(pmoshv_6, (10.435,11.145), rotation=pi/2))
inverter_hv.add(gdstk.Reference(nmoshv_7, (9.935,2.795), rotation=pi/2))
inverter_hv.add(gdstk.Reference(via_stack, (9.585,10.355)))
inverter_hv.add(gdstk.Reference(via_stack, (9.585,4.56)))
inverter_hv.add(gdstk.Reference(via_stack_3, (8.125,3.395), rotation=3*pi/2))
inverter_hv.add(gdstk.Reference(via_stack_3, (8.125,11.65), rotation=3*pi/2))
inverter_hv.add(gdstk.Label('VSS', (9.39,0.97), layer=8, texttype=0))
inverter_hv.add(gdstk.Label('VINH', (8.11,8.555), layer=10, texttype=0))
inverter_hv.add(gdstk.Label('vout_hv', (10.55,9.105), layer=10, texttype=0))

pmos_1 = lib.new_cell('pmos$1')
R(pmos_1, Activ, [(-1.31,-1.01,-1.01,2.13), (1.82,-1.01,2.12,2.13), (0,0,0.3,0.3), (0,0,0.81,1.12), (0.51,0,0.81,0.3), (-1.31,2.13,2.12,2.43)])
P(pmos_1, Activ, [(-1.31,-1.31),(-1.31,2.13),(-1.01,2.13),(-1.01,-1.01),(1.82,-1.01),(1.82,2.13),(-1.31,2.13),(-1.31,2.43),(2.12,2.43),(2.12,-1.31)])
R(pmos_1, GatPoly, [(0.34,-0.18,0.47,1.3), (0.34,-0.18,0.47,1.3)])
A(pmos_1, Cont, -1.24, -1.24, 0.16, 0.16, 5, 2, 0.34, 3.44)
A(pmos_1, Cont, 0.53, -1.24, 0.16, 0.16, 5, 2, 0.34, 3.44)
A(pmos_1, Cont, -1.24, -0.9, 0.16, 0.16, 1, 4, 0, 0.34)
A(pmos_1, Cont, 1.89, -0.9, 0.16, 0.16, 1, 4, 0, 0.34)
A(pmos_1, Cont, 0.07, 0.07, 0.16, 0.16, 1, 3, 0, 0.41)
A(pmos_1, Cont, 0.58, 0.07, 0.16, 0.16, 1, 3, 0, 0.41)
A(pmos_1, Cont, -1.24, 0.5, 0.16, 0.16, 1, 5, 0, 0.34)
A(pmos_1, Cont, 1.89, 0.5, 0.16, 0.16, 1, 5, 0, 0.34)
R(pmos_1, Metal1, [(-1.31,-1.31,2.12,-1.01), (-1.31,-1.01,-1.01,2.13), (1.82,-1.01,2.12,2.13), (0.07,0,0.23,1.12), (0.07,0,0.23,1.12), (0.58,0,0.74,1.12), (0.58,0,0.74,1.12), (-1.31,2.13,2.12,2.43)])
R(pmos_1, pSD, [(-0.18,-0.3,0.99,1.42)])
R(pmos_1, NWell, [(-1.66,-1.66,2.47,2.78), (-0.31,-0.31,1.12,1.43)])
R(pmos_1, nBuLay, [(-1.66,-0.66,-0.66,1.78), (1.47,-0.66,2.47,1.78), (-1.66,1.78,2.47,2.78)])
P(pmos_1, nBuLay, [(-1.66,-1.66),(-1.66,1.78),(-0.66,1.78),(-0.66,-0.66),(1.47,-0.66),(1.47,1.78),(-1.66,1.78),(-1.66,2.78),(2.47,2.78),(2.47,-1.66)])
R(pmos_1, Substrate, [(0.51,0,0.81,0.3)])
R(pmos_1, HeatTrans, [(0.34,-0.18,0.47,1.3)])
pmos_1.add(gdstk.Label('pmos', (0.405,0.56), layer=63, texttype=0))
pmos_1.add(gdstk.Label('well', (0.405,-1.16), layer=63, texttype=0))
pmos_1.add(gdstk.Label('pmos', (0.405,0.56), layer=51, texttype=0))

nmos_1 = lib.new_cell('nmos$1')
R(nmos_1, Activ, [(-1,-0.88,-0.7,1.62), (1.51,-0.88,1.81,1.62), (0,0,0.3,0.3), (0,0,0.81,0.74), (0.51,0,0.81,0.3), (-1,1.62,1.81,1.92)])
P(nmos_1, Activ, [(-1,-1.18),(-1,1.62),(-0.7,1.62),(-0.7,-0.88),(1.51,-0.88),(1.51,1.62),(-1,1.62),(-1,1.92),(1.81,1.92),(1.81,-1.18)])
R(nmos_1, GatPoly, [(0.34,-0.18,0.47,0.92)])
R(nmos_1, GatPoly_2, [(0.34,-0.18,0.47,0.92)])
A(nmos_1, Cont, -0.93, -1.11, 0.16, 0.16, 4, 2, 0.34, 2.8)
A(nmos_1, Cont, 0.56, -1.11, 0.16, 0.16, 4, 2, 0.34, 2.8)
A(nmos_1, Cont, -0.93, -0.77, 0.16, 0.16, 1, 3, 0, 0.34)
A(nmos_1, Cont, 1.58, -0.77, 0.16, 0.16, 1, 3, 0, 0.34)
A(nmos_1, Cont, -0.93, 0.33, 0.16, 0.16, 1, 4, 0, 0.34)
A(nmos_1, Cont, 1.58, 0.33, 0.16, 0.16, 1, 4, 0, 0.34)
R(nmos_1, Cont, [(0.07,0.07,0.23,0.23), (0.58,0.07,0.74,0.23), (0.07,0.51,0.23,0.67), (0.58,0.51,0.74,0.67)])
R(nmos_1, Metal1, [(-1,-1.18,1.81,-0.88), (-1,-0.88,-0.7,1.62), (1.51,-0.88,1.81,1.62), (0.07,0,0.23,0.74), (0.58,0,0.74,0.74), (-1,1.62,1.81,1.92)])
R(nmos_1, Metal1_pin, [(0.07,0,0.23,0.74), (0.58,0,0.74,0.74)])
R(nmos_1, pSD, [(-1.03,-0.85,-0.67,1.59), (1.48,-0.85,1.84,1.59), (-1.03,1.59,1.84,1.95)])
P(nmos_1, pSD, [(-1.03,-1.21),(-1.03,1.59),(-0.67,1.59),(-0.67,-0.85),(1.48,-0.85),(1.48,1.59),(-1.03,1.59),(-1.03,1.95),(1.84,1.95),(1.84,-1.21)])
R(nmos_1, Substrate, [(-1.03,-0.85,-0.67,1.59), (1.48,-0.85,1.84,1.59), (-1.03,1.59,1.84,1.95)])
P(nmos_1, Substrate, [(-1.03,-1.21),(-1.03,1.59),(-0.67,1.59),(-0.67,-0.85),(1.48,-0.85),(1.48,1.59),(-1.03,1.59),(-1.03,1.95),(1.84,1.95),(1.84,-1.21)])
R(nmos_1, HeatTrans, [(0.34,-0.18,0.47,0.92)])
nmos_1.add(gdstk.Label('nmos', (0.405,0.37), layer=63, texttype=0))
nmos_1.add(gdstk.Label('sub!', (0.405,-1.03), layer=63, texttype=0))
nmos_1.add(gdstk.Label('nmos', (0.405,0.37), layer=51, texttype=0))

inverter_lv = lib.new_cell('inverter_lv')
R(inverter_lv, GatPoly, [(6.295,-1.195,6.78,-1.065), (5.91,7.295,6.21,8.135), (5.91,8.005,6.73,8.135)])
R(inverter_lv, Metal1, [(7.01,-3.205,7.29,-1.305), (7.045,-0.955,7.255,-0.265), (7.045,7.045,7.255,7.895), (7.045,8.245,7.3,10.895)])
R(inverter_lv, Metal2, [(6.345,-1.495,6.545,5.115), (7.05,-0.555,7.25,7.335), (3.015,4.91,6.545,5.115), (5.96,4.91,6.16,7.965), (7.05,7.045,7.25,10.335), (-18.805,10.135,-18.605,13.425), (-18.805,10.135,7.25,10.335)])
inverter_lv.add(gdstk.Reference(pmos_1, (6.73,8.475), rotation=3*pi/2))
inverter_lv.add(gdstk.Reference(via_stack, (7.15,-0.41), rotation=3*pi/2))
inverter_lv.add(gdstk.Reference(via_stack, (7.15,7.19), rotation=3*pi/2))
inverter_lv.add(gdstk.Reference(nmos_1, (6.78,-0.725), rotation=3*pi/2))
inverter_lv.add(gdstk.Reference(via_stack_1, (6.445,-1.145)))
inverter_lv.add(gdstk.Reference(via_stack_1, (6.06,7.615)))
inverter_lv.add(gdstk.Label('VSS', (7.16,-3.07), layer=8, texttype=2))
inverter_lv.add(gdstk.Label('vin_inv', (3.105,5.08), layer=10, texttype=2))

via_stack_4 = lib.new_cell('via_stack$4')
R(via_stack_4, Metal2, [(-0.1,-0.35,0.1,0.35)])
R(via_stack_4, Via2, [(-0.095,-0.3,0.095,-0.11), (-0.095,0.11,0.095,0.3)])
R(via_stack_4, Metal3, [(-0.1,-0.35,0.1,0.35)])

via_stack_6 = lib.new_cell('via_stack$6')
R(via_stack_6, Metal2, [(-0.145,-0.1,0.145,0.1)])
R(via_stack_6, Via2, [(-0.095,-0.095,0.095,0.095)])
R(via_stack_6, Metal3, [(-0.145,-0.1,0.145,0.1)])

clock_extractor_2026 = lib.new_cell('Clock_Extractor_2026')
R(clock_extractor_2026, Metal1, [(-24.37,-27.495,-23.4,-27.195), (-24.37,-24.695,-23.4,-24.395), (-14.81,-24.515,-14.51,-23.215), (-11.68,-24.515,-11.38,-23.215), (-24.37,-22.915,-23.4,-22.615), (-24.37,-19.125,-23.4,-18.825), (-24.37,-7.615,-23.4,-7.315), (-24.37,-6.945,-23.4,-6.645), (-24.37,1.455,-23.4,1.755), (-16.62,1.635,-16.32,2.935), (-11.68,1.635,-11.38,2.935), (-23.19,19.335,-22.89,20.635), (-16.06,19.335,-15.76,20.635), (-8.99,19.335,-8.69,20.635)])
R(clock_extractor_2026, Metal1_pin, [(-24.37,-32.685,-24.07,-32.25), (-10.72,-26.095,-10.27,-25.84), (-12.06,26.365,-11.76,26.84)])
R(clock_extractor_2026, Metal2, [(-18.995,-10.62,-18.795,-2.53)])
R(clock_extractor_2026, Metal2_pin, [(-31.67,-18.23,-31.225,-17.94), (-8.225,-0.19,-7.74,0.01), (-35.785,10.705,-35.47,10.905), (-35.765,11.325,-35.475,11.525)])
R(clock_extractor_2026, Metal3, [(-22.555,3.565,-22.355,20.12), (-22.54,3.565,-12.145,3.855)])
clock_extractor_2026.add(gdstk.Reference(current_mirror2, (-28.82,-15.76), rotation=pi/2, x_reflection=True))
clock_extractor_2026.add(gdstk.Reference(current_mirror_loadn, (-21.41,-2.035), rotation=3*pi/2))
clock_extractor_2026.add(gdstk.Reference(c_2stage_ota, (-15.235,-0.185), rotation=3*pi/2))
clock_extractor_2026.add(gdstk.Reference(current_mirror3, (-21.17,20.74)))
clock_extractor_2026.add(gdstk.Reference(iput_diff, (-15.765,7.195)))
clock_extractor_2026.add(gdstk.Reference(inverter_hv, (-25.225,-11.46), rotation=3*pi/2))
clock_extractor_2026.add(gdstk.Reference(inverter_lv, (-21.165,-18.795), rotation=3*pi/2))
clock_extractor_2026.add(gdstk.Reference(via_stack_4, (-22.455,19.77)))
clock_extractor_2026.add(gdstk.Reference(via_stack_6, (-12.245,3.71), rotation=3*pi/2))
clock_extractor_2026.add(gdstk.Reference(via_stack_6, (-22.455,3.71), rotation=3*pi/2))
clock_extractor_2026.add(gdstk.Label('VDD', (-11.84,26.62), layer=8, texttype=0))
clock_extractor_2026.add(gdstk.Label('VSS', (-24.21,-32.45), layer=8, texttype=0))
clock_extractor_2026.add(gdstk.Label('vdd_1v2', (-10.49,-25.97), layer=8, texttype=2))
clock_extractor_2026.add(gdstk.Label('v_bm', (-31.5,-18.035), layer=10, texttype=0))
clock_extractor_2026.add(gdstk.Label('vin_N', (-35.695,11.42), layer=10, texttype=0))
clock_extractor_2026.add(gdstk.Label('vin_P', (-35.725,10.805), layer=10, texttype=0))
clock_extractor_2026.add(gdstk.Label('vclk', (-7.95,-0.075), layer=10, texttype=2))

lib.write_gds('Clock_Extractor_2026.gds')
